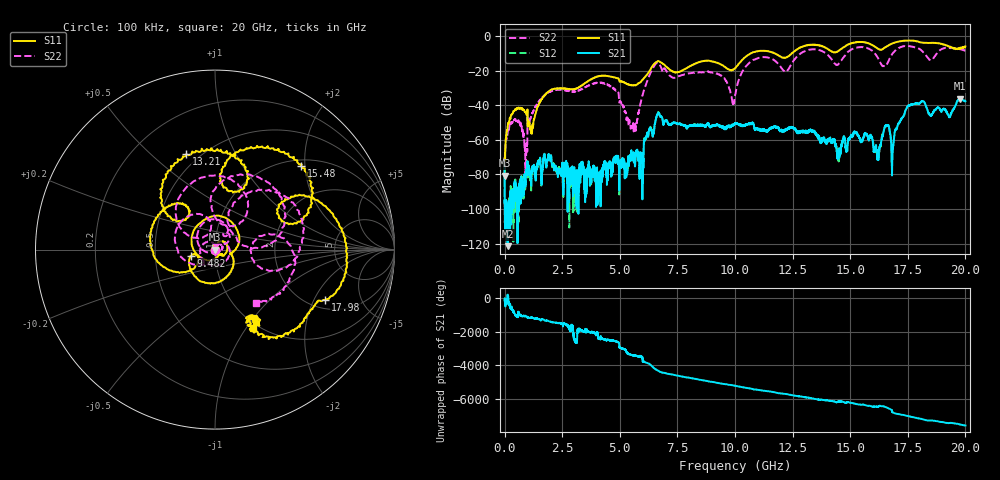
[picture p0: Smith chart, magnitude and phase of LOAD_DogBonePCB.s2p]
#  HZ  S  RI  R  50.00
! Rohde & Schwarz Vector Network Analyzer
! Rohde-Schwarz,ZNB20-2Port,1311601062101763,2.70
! Created: UTC 3/9/2022, 3:50:49 PM
! freq[Hz]  re:S11  im:S11  re:S21  im:S21  re:S12  im:S12  re:S22  im:S22
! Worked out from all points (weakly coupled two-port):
!   5000 points, 100 kHz to 20 GHz, reference 50 ohm
!   highest |S21| = -36.20 dB at 19.77 GHz (marker M1); lowest = -121.5 dB at 132.1 MHz (marker M2)
!   lowest |S11| = -80.8 dB at 8.102 MHz (marker M3), VSWR 1.00, Z = 50 + j0.00913 ohm
!   |S11| at or under -10 dB: start of sweep to 10.69 GHz; 11.7 GHz to 12.46 GHz (759.6 MHz wide, 6.29 % of centre)
!   |S22| runs from -79.5 to -5.7 dB; largest |S21 - S12| = 0.00067
!   S11 on the Smith chart (normalised r, x): 100 kHz: 1.00, +0.00; 9.482 GHz: 0.76, -0.05; 13.21 GHz: 0.43, +0.65; 15.48 GHz: 1.13, +1.91; 17.98 GHz: 2.40, -2.47; 20 GHz: 0.93, -1.11
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100000  -0.000266 0.000112  -0.00016 -0.000152  -4.04e-05 -0.000137  -0.000268 0.000126
8101560  -3.43e-06 9.13e-05  -1.04e-06 -1.85e-05  1.88e-06 -3.55e-06  0.000132 0.000213
1.321257e8  0.00101 0.00204  -7.57e-07 -3.66e-07  6.55e-06 -2.37e-06  0.000946 0.00134
5.442061e8  0.00717 0.00364  4.18e-05 -8.05e-06  1.03e-05 2.41e-06  0.00318 0.002
8.882732e8  0.00635 -0.00107  7.01e-05 -3.63e-05  7.47e-05 -3.51e-05  0.000392 0.000226
1.184331e9  -0.00065 -0.00134  2.14e-05 -0.000112  2.15e-05 -0.000141  -0.00471 0.00252
1.69243e9  -0.0108 0.0144  -0.000271 0.000131  -0.000275 0.000108  -0.00798 0.0163
3.336751e9  0.0129 0.0344  -0.000136 -7.99e-05  -0.000105 -0.000115  0.0118 0.0268
4.685014e9  0.0643 -0.0128  0.000151 -3.54e-05  0.000178 -4.1e-05  0.0325 -0.0064
5.609194e9  0.0219 -0.0304  -0.000277 9.98e-05  -0.00023 6.78e-05  0.0019 -0.000299
6.669401e9  0.0268 0.1878  0.00529 -0.00306  0.0054 -0.00322  0.0189 0.1662
9.481949e9  -0.1356 -0.0353  0.000292 -0.00229  0.000241 -0.00234  -0.0502 0.0411
1.000205e10  -0.0931 -0.0721  -0.00276 0.000781  -0.00279 0.000785  0.0101 -0.0168
1.074219e10  -0.3222 -0.0639  0.00275 -0.00125  0.00278 -0.00116  -0.1899 -0.0407
1.321468e10  -0.16 0.5309  -0.00175 0.000516  -0.0017 0.000414  -0.1149 0.3824
1.33347e10  -0.0741 0.552  -0.00125 0.00127  -0.00129 0.00127  -0.0506 0.4074
1.548312e10  0.4788 0.4664  -0.00032 0.000851  -0.000369 0.000935  0.3203 0.3599
1.666735e10  0.4454 0.3016  -0.000514 -0.00252  -0.000546 -0.00246  0.0721 0.1765
1.684739e10  0.5456 0.2878  0.000515 0.000191  0.000562 0.000137  0.1352 0.2868
1.798361e10  0.6146 -0.28  0.0104 0.00312  0.0103 0.00325  0.4256 -0.0817
1.977196e10  0.2295 -0.3997  0.0151 0.00356  0.015 0.00345  0.3133 -0.2778
2e10  0.2197 -0.4474  0.00952 -0.00898  0.00962 -0.00886  0.2268 -0.2961
